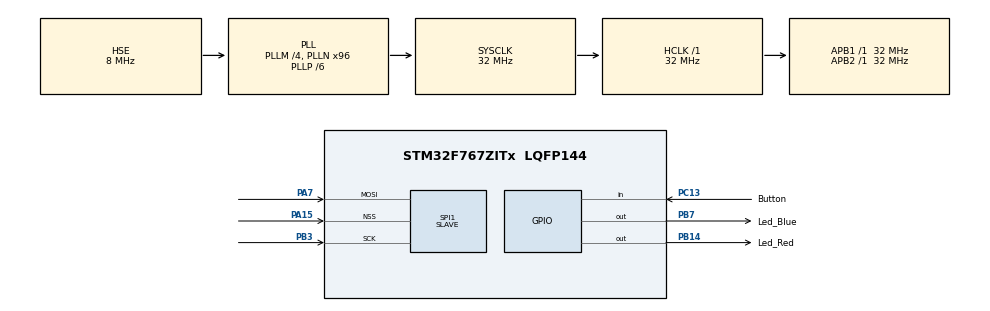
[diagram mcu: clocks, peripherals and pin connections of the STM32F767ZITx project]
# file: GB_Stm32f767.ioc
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Dma.Request0=SPI1_RX
Dma.SPI1_RX.0.Direction=DMA_PERIPH_TO_MEMORY
Dma.SPI1_RX.0.FIFOMode=DMA_FIFOMODE_DISABLE
Dma.SPI1_RX.0.Instance=DMA2_Stream0
Dma.SPI1_RX.0.MemDataAlignment=DMA_MDATAALIGN_BYTE
Dma.SPI1_RX.0.MemInc=DMA_MINC_ENABLE
Dma.SPI1_RX.0.Mode=DMA_CIRCULAR
Dma.SPI1_RX.0.PeriphDataAlignment=DMA_PDATAALIGN_BYTE
Dma.SPI1_RX.0.PeriphInc=DMA_PINC_DISABLE
Dma.SPI1_RX.0.Priority=DMA_PRIORITY_LOW
Mcu.Family=STM32F7
Mcu.Name=STM32F767ZITx
Mcu.Package=LQFP144
NVIC.DMA2_Stream0_IRQn=true\:0\:0\:false\:false\:true\:false\:true\:true
NVIC.PriorityGroup=NVIC_PRIORITYGROUP_4
PA13.Mode=Serial_Wire
PA13.Signal=SYS_JTMS-SWDIO
PA14.Mode=Serial_Wire
PA14.Signal=SYS_JTCK-SWCLK
PA15.Mode=NSS_Signal_Hard_Input
PA15.Signal=SPI1_NSS
PA7.Mode=RX_Only_Simplex_Unidirect_Slave
PA7.Signal=SPI1_MOSI
PB14.GPIO_Label=Led_Red
PB14.Signal=GPIO_Output
PB3.Mode=RX_Only_Simplex_Unidirect_Slave
PB3.Signal=SPI1_SCK
PB7.GPIO_Label=Led_Blue
PB7.Signal=GPIO_Output
PC13.GPIO_Label=Button
PC13.Signal=GPIO_Input
PC14/OSC32_IN.Mode=LSE-External-Oscillator
PC14/OSC32_IN.Signal=RCC_OSC32_IN
PC15/OSC32_OUT.Mode=LSE-External-Oscillator
PC15/OSC32_OUT.Signal=RCC_OSC32_OUT
PH0/OSC_IN.Mode=HSE-External-Oscillator
PH0/OSC_IN.Signal=RCC_OSC_IN
PH1/OSC_OUT.Mode=HSE-External-Oscillator
PH1/OSC_OUT.Signal=RCC_OSC_OUT
ProjectManager.HeapSize=0x200
ProjectManager.StackSize=0x400
ProjectManager.TargetToolchain=STM32CubeIDE
RCC.AHBFreq_Value=32000000
RCC.APB1Freq_Value=32000000
RCC.APB1TimFreq_Value=32000000
RCC.APB2Freq_Value=32000000
RCC.APB2TimFreq_Value=32000000
RCC.CortexFreq_Value=32000000
RCC.HCLKFreq_Value=32000000
RCC.HSE_VALUE=8000000
RCC.HSI_VALUE=16000000
RCC.PLLM=4
RCC.PLLN=96
RCC.PLLP=RCC_PLLP_DIV6
RCC.PLLSourceVirtual=RCC_PLLSOURCE_HSE
RCC.SYSCLKFreq_VALUE=32000000
RCC.SYSCLKSource=RCC_SYSCLKSOURCE_PLLCLK
RCC.USBFreq_Value=96000000
RCC.VCOOutputFreq_Value=192000000
SPI1.CLKPhase=SPI_PHASE_1EDGE
SPI1.CLKPolarity=SPI_POLARITY_LOW
SPI1.DataSize=SPI_DATASIZE_8BIT
SPI1.Direction=SPI_DIRECTION_2LINES_RXONLY
SPI1.FirstBit=SPI_FIRSTBIT_MSB
SPI1.Mode=SPI_MODE_SLAVE
SPI1.VirtualNSS=VM_NSSHARD
SPI1.VirtualType=VM_SLAVE
board=custom

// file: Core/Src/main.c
/* USER CODE BEGIN Header */
/**
  ******************************************************************************
  * @file           : main.c
  * @brief          : Main program body
  ******************************************************************************
  * @attention
  *
  * Copyright (c) 2023 STMicroelectronics.
  * All rights reserved.
  *
  * This software is licensed under terms that can be found in the LICENSE file
  * in the root directory of this software component.
  * If no LICENSE file comes with this software, it is provided AS-IS.
  *
  ******************************************************************************
  */
/* USER CODE END Header */
#include "main.h"

SPI_HandleTypeDef hspi1;
DMA_HandleTypeDef hdma_spi1_rx;

/* USER CODE BEGIN PV */
typedef struct {
    int8_t temperature;
    uint8_t humidity;
    uint8_t control_value;
} sensor;

volatile uint8_t flag_end_receive_data = 0;
volatile sensor data_sensor = {.humidity = 0, .temperature = 0};

/* USER CODE END PV */

void SystemClock_Config(void);
static void MX_GPIO_Init(void);
static void MX_SPI1_Init(void);
static void MX_DMA_Init(void);

int main(void)
{

  /* MCU Configuration--------------------------------------------------------*/

  /* Reset of all peripherals, Initializes the Flash interface and the Systick. */
  HAL_Init();

  /* Configure the system clock */
  SystemClock_Config();

  /* USER CODE BEGIN SysInit */
    MX_DMA_Init();
  /* USER CODE END SysInit */

  /* Initialize all configured peripherals */
  MX_GPIO_Init();
  MX_SPI1_Init();
  MX_DMA_Init();
  /* USER CODE BEGIN 2 */
    HAL_SPI_Receive_DMA(&hspi1, (uint8_t *)&data_sensor, sizeof(data_sensor));

  /* USER CODE END 2 */

  /* Infinite loop */
    while (1)
    {

    /* USER CODE BEGIN 3 */

        if (flag_end_receive_data == 1)
        {
            flag_end_receive_data = 0;
            __NOP();
        }

    }
  /* USER CODE END 3 */
}

void SystemClock_Config(void)
{
  RCC_OscInitTypeDef RCC_OscInitStruct = {0};
  RCC_ClkInitTypeDef RCC_ClkInitStruct = {0};

  /** Configure LSE Drive Capability
  */
  HAL_PWR_EnableBkUpAccess();

  /** Configure the main internal regulator output voltage
  */
  __HAL_RCC_PWR_CLK_ENABLE();
  __HAL_PWR_VOLTAGESCALING_CONFIG(PWR_REGULATOR_VOLTAGE_SCALE3);

  /** Initializes the RCC Oscillators according to the specified parameters
  * in the RCC_OscInitTypeDef structure.
  */
  RCC_OscInitStruct.OscillatorType = RCC_OSCILLATORTYPE_HSE;
  RCC_OscInitStruct.HSEState = RCC_HSE_ON;
  RCC_OscInitStruct.PLL.PLLState = RCC_PLL_ON;
  RCC_OscInitStruct.PLL.PLLSource = RCC_PLLSOURCE_HSE;
  RCC_OscInitStruct.PLL.PLLM = 4;
  RCC_OscInitStruct.PLL.PLLN = 96;
  RCC_OscInitStruct.PLL.PLLP = RCC_PLLP_DIV6;
  RCC_OscInitStruct.PLL.PLLQ = 2;
  RCC_OscInitStruct.PLL.PLLR = 2;
  if (HAL_RCC_OscConfig(&RCC_OscInitStruct) != HAL_OK)
  {
    Error_Handler();
  }

  /** Initializes the CPU, AHB and APB buses clocks
  */
  RCC_ClkInitStruct.ClockType = RCC_CLOCKTYPE_HCLK|RCC_CLOCKTYPE_SYSCLK
                              |RCC_CLOCKTYPE_PCLK1|RCC_CLOCKTYPE_PCLK2;
  RCC_ClkInitStruct.SYSCLKSource = RCC_SYSCLKSOURCE_PLLCLK;
  RCC_ClkInitStruct.AHBCLKDivider = RCC_SYSCLK_DIV1;
  RCC_ClkInitStruct.APB1CLKDivider = RCC_HCLK_DIV1;
  RCC_ClkInitStruct.APB2CLKDivider = RCC_HCLK_DIV1;

  if (HAL_RCC_ClockConfig(&RCC_ClkInitStruct, FLASH_LATENCY_1) != HAL_OK)
  {
    Error_Handler();
  }
}

static void MX_SPI1_Init(void)
{

  /* SPI1 parameter configuration*/
  hspi1.Instance = SPI1;
  hspi1.Init.Mode = SPI_MODE_SLAVE;
  hspi1.Init.Direction = SPI_DIRECTION_2LINES_RXONLY;
  hspi1.Init.DataSize = SPI_DATASIZE_8BIT;
  hspi1.Init.CLKPolarity = SPI_POLARITY_LOW;
  hspi1.Init.CLKPhase = SPI_PHASE_1EDGE;
  hspi1.Init.NSS = SPI_NSS_HARD_INPUT;
  hspi1.Init.FirstBit = SPI_FIRSTBIT_MSB;
  hspi1.Init.TIMode = SPI_TIMODE_DISABLE;
  hspi1.Init.CRCCalculation = SPI_CRCCALCULATION_DISABLE;
  hspi1.Init.CRCPolynomial = 7;
  hspi1.Init.CRCLength = SPI_CRC_LENGTH_DATASIZE;
  hspi1.Init.NSSPMode = SPI_NSS_PULSE_DISABLE;
  if (HAL_SPI_Init(&hspi1) != HAL_OK)
  {
    Error_Handler();
  }

}

static void MX_DMA_Init(void)
{

  /* DMA controller clock enable */
  __HAL_RCC_DMA2_CLK_ENABLE();

  /* DMA interrupt init */
  /* DMA2_Stream0_IRQn interrupt configuration */
  HAL_NVIC_SetPriority(DMA2_Stream0_IRQn, 0, 0);
  HAL_NVIC_EnableIRQ(DMA2_Stream0_IRQn);

}

static void MX_GPIO_Init(void)
{
  GPIO_InitTypeDef GPIO_InitStruct = {0};

  /* GPIO Ports Clock Enable */
  __HAL_RCC_GPIOC_CLK_ENABLE();
  __HAL_RCC_GPIOH_CLK_ENABLE();
  __HAL_RCC_GPIOA_CLK_ENABLE();
  __HAL_RCC_GPIOB_CLK_ENABLE();

  /*Configure GPIO pin Output Level */
  HAL_GPIO_WritePin(GPIOB, Led_Red_Pin|Led_Blue_Pin, GPIO_PIN_RESET);

  /*Configure GPIO pin : Button_Pin */
  GPIO_InitStruct.Pin = Button_Pin;
  GPIO_InitStruct.Mode = GPIO_MODE_INPUT;
  GPIO_InitStruct.Pull = GPIO_NOPULL;
  HAL_GPIO_Init(Button_GPIO_Port, &GPIO_InitStruct);

  /*Configure GPIO pins : Led_Red_Pin Led_Blue_Pin */
  GPIO_InitStruct.Pin = Led_Red_Pin|Led_Blue_Pin;
  GPIO_InitStruct.Mode = GPIO_MODE_OUTPUT_PP;
  GPIO_InitStruct.Pull = GPIO_NOPULL;
  GPIO_InitStruct.Speed = GPIO_SPEED_FREQ_LOW;
  HAL_GPIO_Init(GPIOB, &GPIO_InitStruct);

}

/* USER CODE BEGIN 4 */

void HAL_SPI_RxCpltCallback(SPI_HandleTypeDef *hspi)
{
    if (hspi->Instance == SPI1){
        flag_end_receive_data = 1;
    }

}
/* USER CODE END 4 */

void Error_Handler(void)
{
    __disable_irq();
    while (1)
    {
    }
}
